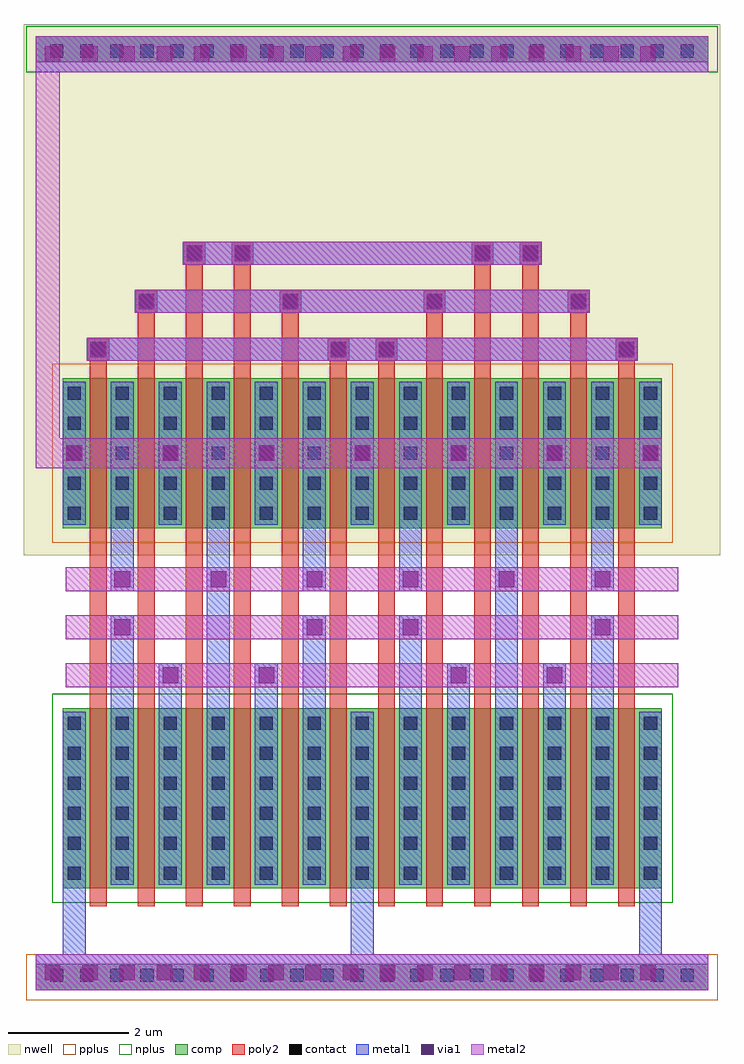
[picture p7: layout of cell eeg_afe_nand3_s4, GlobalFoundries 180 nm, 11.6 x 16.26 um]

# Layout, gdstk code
import gdstk
lib = gdstk.Library(unit=1e-6, precision=1e-09)
def R(c, l, rs):  # rectangles x0, y0, x1, y1
    for r in rs: c.add(gdstk.rectangle(r[:2], r[2:], *l))
def A(c, l, x, y, w, h, nx, ny, dx, dy):  # array of equal rectangles
    R(c, l, [(x+i*dx, y+j*dy, x+i*dx+w, y+j*dy+h) for i in range(nx) for j in range(ny)])
nwell = (21, 0)
comp = (22, 0)
poly2 = (30, 0)
pplus = (31, 0)
nplus = (32, 0)
contact = (33, 0)
metal1 = (34, 0)
via1 = (35, 0)
metal2 = (36, 0)

eeg_afe_nand3_s4 = lib.new_cell('eeg_afe_nand3_s4')
R(eeg_afe_nand3_s4, nwell, [(-0.2,7.25,11.4,16.1)])
R(eeg_afe_nand3_s4, comp, [(0,0,11.2,0.44), (0.45,1.7,10.43,4.7), (0.45,7.7,10.43,10.2), (0,15.46,11.2,15.9)])
A(eeg_afe_nand3_s4, poly2, 0.9, 1.4, 0.28, 6.3, 12, 1, 0.8, 0)
A(eeg_afe_nand3_s4, poly2, 1.7, 7.4, 0.28, 4.26, 4, 1, 2.4, 0)
A(eeg_afe_nand3_s4, poly2, 1.66, 11.3, 0.36, 0.36, 4, 1, 2.4, 0)
R(eeg_afe_nand3_s4, poly2, [(0.9,7.4,1.18,10.86), (2.5,7.4,2.78,12.46), (3.3,7.4,3.58,12.46), (4.9,7.4,5.18,10.86), (5.7,7.4,5.98,10.86), (7.3,7.4,7.58,12.46), (8.1,7.4,8.38,12.46), (9.7,7.4,9.98,10.86), (0.86,10.5,1.22,10.86), (4.86,10.5,5.22,10.86), (5.66,10.5,6.02,10.86), (9.66,10.5,10.02,10.86), (2.46,12.1,2.82,12.46), (3.26,12.1,3.62,12.46), (7.26,12.1,7.62,12.46), (8.06,12.1,8.42,12.46)])
R(eeg_afe_nand3_s4, pplus, [(-0.16,-0.16,11.36,0.6), (0.27,7.46,10.61,10.44)])
R(eeg_afe_nand3_s4, nplus, [(0.27,1.46,10.61,4.94), (-0.16,15.3,11.36,16.06)])
A(eeg_afe_nand3_s4, contact, 0.24, 0.14, 0.22, 0.22, 22, 2, 0.5, 15.4)
A(eeg_afe_nand3_s4, contact, 0.53, 1.84, 0.22, 0.22, 13, 6, 0.8, 0.5)
A(eeg_afe_nand3_s4, contact, 0.53, 7.84, 0.22, 0.22, 13, 5, 0.8, 0.5)
A(eeg_afe_nand3_s4, contact, 1.73, 11.37, 0.22, 0.22, 4, 1, 2.4, 0)
R(eeg_afe_nand3_s4, contact, [(0.93,10.57,1.15,10.79), (4.93,10.57,5.15,10.79), (5.73,10.57,5.95,10.79), (9.73,10.57,9.95,10.79), (2.53,12.17,2.75,12.39), (3.33,12.17,3.55,12.39), (7.33,12.17,7.55,12.39), (8.13,12.17,8.35,12.39)])
A(eeg_afe_nand3_s4, metal1, 0.45, 0.3, 0.38, 4.34, 3, 1, 4.8, 0)
A(eeg_afe_nand3_s4, metal1, 1.25, 6.65, 0.38, 3.49, 6, 1, 1.6, 0)
A(eeg_afe_nand3_s4, metal1, 0.45, 7.76, 0.38, 2.38, 7, 1, 1.6, 0)
R(eeg_afe_nand3_s4, metal1, [(0,0,11.2,0.6), (0,0,11.2,0.44), (1.25,1.76,1.63,6.25), (2.05,1.76,2.43,5.45), (2.85,1.76,3.23,7.05), (3.65,1.76,4.03,5.45), (4.45,1.76,4.83,6.25), (6.05,1.76,6.43,6.25), (6.85,1.76,7.23,5.45), (7.65,1.76,8.03,7.05), (8.45,1.76,8.83,5.45), (9.25,1.76,9.63,6.25), (0.85,10.49,10.03,10.87), (1.65,11.29,9.23,11.67), (2.45,12.09,8.43,12.47), (0,15.3,11.2,15.9), (0,15.46,11.2,15.9)])
A(eeg_afe_nand3_s4, via1, 0.15, 0.17, 0.26, 0.26, 17, 2, 0.62, 15.3)
A(eeg_afe_nand3_s4, via1, 2.91, 6.72, 0.26, 0.26, 4, 1, 1.6, 0)
A(eeg_afe_nand3_s4, via1, 0.51, 8.82, 0.26, 0.26, 7, 1, 1.6, 0)
A(eeg_afe_nand3_s4, via1, 1.71, 11.35, 0.26, 0.26, 4, 1, 2.4, 0)
R(eeg_afe_nand3_s4, via1, [(2.11,5.12,2.37,5.38), (3.71,5.12,3.97,5.38), (6.91,5.12,7.17,5.38), (8.51,5.12,8.77,5.38), (1.31,5.92,1.57,6.18), (4.51,5.92,4.77,6.18), (6.11,5.92,6.37,6.18), (9.31,5.92,9.57,6.18), (1.31,6.72,1.57,6.98), (2.91,6.72,3.17,6.98), (7.71,6.72,7.97,6.98), (9.31,6.72,9.57,6.98), (0.91,10.55,1.17,10.81), (4.91,10.55,5.17,10.81), (5.71,10.55,5.97,10.81), (9.71,10.55,9.97,10.81), (2.51,12.15,2.77,12.41), (3.31,12.15,3.57,12.41), (7.31,12.15,7.57,12.41), (8.11,12.15,8.37,12.41)])
A(eeg_afe_nand3_s4, metal2, 0.5, 5.05, 10.2, 0.4, 1, 3, 0, 0.8)
R(eeg_afe_nand3_s4, metal2, [(0,0,11.2,0.6), (0,8.7,10.43,9.2), (0,8.7,0.4,15.3), (0.85,10.49,10.03,10.87), (1.65,11.29,9.23,11.67), (2.45,12.09,8.43,12.47), (0,15.3,11.2,15.9)])

lib.write_gds('eeg_afe_nand3_s4.gds')
